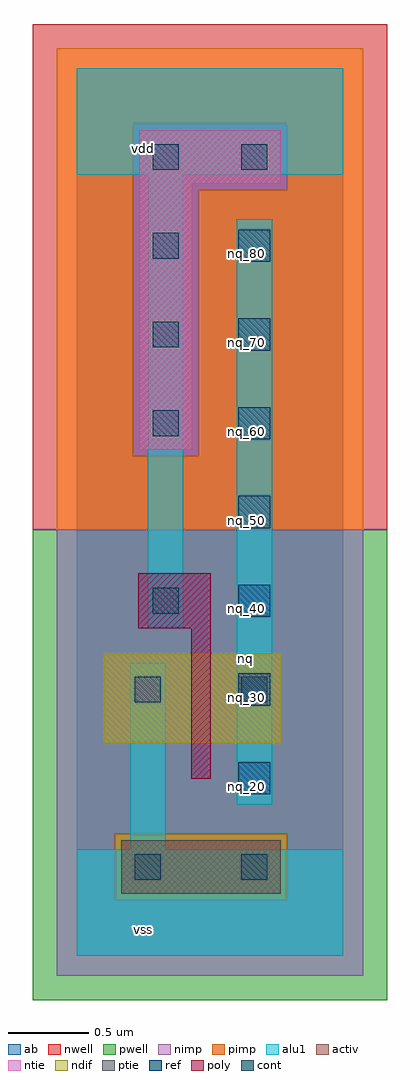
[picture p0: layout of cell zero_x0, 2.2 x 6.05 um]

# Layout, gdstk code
import gdstk
lib = gdstk.Library(unit=1e-6, precision=2.5e-09)
def R(c, l, rs):  # rectangles x0, y0, x1, y1
    for r in rs: c.add(gdstk.rectangle(r[:2], r[2:], *l))
def A(c, l, x, y, w, h, nx, ny, dx, dy):  # array of equal rectangles
    R(c, l, [(x+i*dx, y+j*dy, x+i*dx+w, y+j*dy+h) for i in range(nx) for j in range(ny)])
ndif = (3, 0)
ntie = (5, 0)
ptie = (6, 0)
ref = (24, 0)
cont = (25, 0)
pwell = (41, 0)
nwell = (42, 0)
activ = (43, 0)
pimp = (44, 0)
nimp = (45, 0)
poly = (46, 0)
alu1 = (49, 0)
ab = (63, 0)

zero_x0 = lib.new_cell('zero_x0')
R(zero_x0, ndif, [(0.165,1.32,1.265,1.87)])
R(zero_x0, ntie, [(0.385,3.135,0.715,4.785), (0.385,4.785,1.265,5.115)])
R(zero_x0, ptie, [(0.275,0.385,1.265,0.715)])
A(zero_x0, ref, 1, 1, 0.2, 0.2, 1, 7, 0, 0.55)
A(zero_x0, cont, 0.47, 3.22, 0.16, 0.16, 1, 4, 0, 0.55)
R(zero_x0, cont, [(0.36,0.47,0.52,0.63), (1.02,0.47,1.18,0.63), (0.36,1.57,0.52,1.73), (1.02,1.57,1.18,1.73), (0.47,2.12,0.63,2.28), (1.02,4.87,1.18,5.03)])
R(zero_x0, pwell, [(-0.275,-0.275,1.925,2.64)])
R(zero_x0, nwell, [(-0.275,2.64,1.925,5.775)])
R(zero_x0, activ, [(0.275,0.385,1.265,0.715), (0.165,1.32,1.265,1.87), (0.385,3.135,0.715,4.785), (0.385,4.785,1.265,5.115)])
R(zero_x0, pimp, [(0.235,0.345,1.305,0.755), (-0.125,2.64,1.775,3.095), (-0.125,3.095,0.345,5.155), (0.755,3.095,1.775,4.745), (1.305,4.745,1.775,5.155), (-0.125,5.155,1.775,5.625)])
R(zero_x0, nimp, [(-0.125,-0.125,1.775,0.345), (-0.125,0.345,0.235,0.755), (1.305,0.345,1.775,0.755), (-0.125,0.755,1.775,2.64), (0.345,3.095,0.755,4.745), (0.345,4.745,1.305,5.155)])
R(zero_x0, poly, [(0.71,1.095,0.83,2.03), (0.38,2.03,0.83,2.37)])
R(zero_x0, alu1, [(0,0,1.65,0.66), (0.33,0.66,0.55,1.815), (0.99,0.935,1.21,4.565), (0.44,2.035,0.66,4.84), (0,4.84,1.65,5.5)])
R(zero_x0, ab, [(0,0,1.65,5.5)])
zero_x0.add(gdstk.Label('vss', (0.4125,0.165), layer=49, texttype=0))
zero_x0.add(gdstk.Label('nq', (1.045,1.8425), layer=49, texttype=0))
zero_x0.add(gdstk.Label('vdd', (0.4125,5.005), layer=49, texttype=0))
zero_x0.add(gdstk.Label('nq_20', (1.05,1.05), layer=24, texttype=0))
zero_x0.add(gdstk.Label('nq_30', (1.05,1.6), layer=24, texttype=0))
zero_x0.add(gdstk.Label('nq_40', (1.05,2.15), layer=24, texttype=0))
zero_x0.add(gdstk.Label('nq_50', (1.05,2.7), layer=24, texttype=0))
zero_x0.add(gdstk.Label('nq_60', (1.05,3.25), layer=24, texttype=0))
zero_x0.add(gdstk.Label('nq_70', (1.05,3.8), layer=24, texttype=0))
zero_x0.add(gdstk.Label('nq_80', (1.05,4.35), layer=24, texttype=0))

lib.write_gds('zero_x0.gds')
